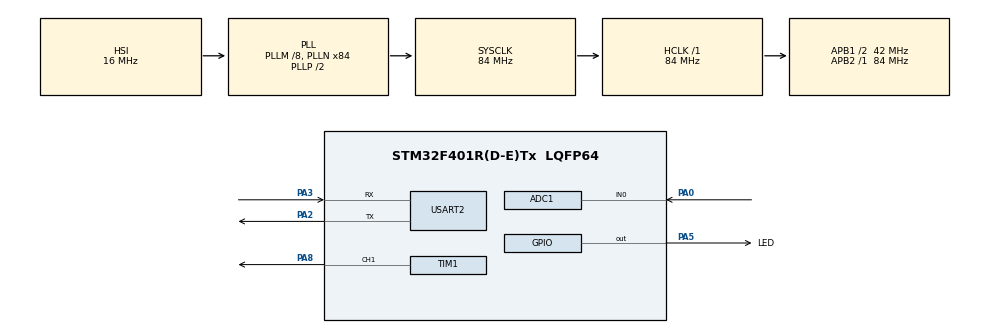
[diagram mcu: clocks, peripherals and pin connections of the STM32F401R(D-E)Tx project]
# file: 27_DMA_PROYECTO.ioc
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ADC1.Channel-0\#ChannelRegularConversion=ADC_CHANNEL_0
ADC1.ContinuousConvMode=ENABLE
ADC1.DMAContinuousRequests=ENABLE
ADC1.NbrOfConversionFlag=1
ADC1.Rank-0\#ChannelRegularConversion=1
ADC1.SamplingTime-0\#ChannelRegularConversion=ADC_SAMPLETIME_3CYCLES
ADC1.master=1
Dma.ADC1.0.Direction=DMA_PERIPH_TO_MEMORY
Dma.ADC1.0.FIFOMode=DMA_FIFOMODE_ENABLE
Dma.ADC1.0.FIFOThreshold=DMA_FIFO_THRESHOLD_FULL
Dma.ADC1.0.Instance=DMA2_Stream0
Dma.ADC1.0.MemBurst=DMA_MBURST_SINGLE
Dma.ADC1.0.MemDataAlignment=DMA_MDATAALIGN_HALFWORD
Dma.ADC1.0.MemInc=DMA_MINC_ENABLE
Dma.ADC1.0.Mode=DMA_CIRCULAR
Dma.ADC1.0.PeriphBurst=DMA_PBURST_SINGLE
Dma.ADC1.0.PeriphDataAlignment=DMA_PDATAALIGN_HALFWORD
Dma.ADC1.0.PeriphInc=DMA_PINC_DISABLE
Dma.ADC1.0.Priority=DMA_PRIORITY_LOW
Dma.Request0=ADC1
Dma.Request1=USART2_RX
Dma.Request2=TIM1_CH1
Dma.TIM1_CH1.2.Direction=DMA_PERIPH_TO_MEMORY
Dma.TIM1_CH1.2.FIFOMode=DMA_FIFOMODE_DISABLE
Dma.TIM1_CH1.2.Instance=DMA2_Stream1
Dma.TIM1_CH1.2.MemDataAlignment=DMA_MDATAALIGN_HALFWORD
Dma.TIM1_CH1.2.MemInc=DMA_MINC_ENABLE
Dma.TIM1_CH1.2.Mode=DMA_NORMAL
Dma.TIM1_CH1.2.PeriphDataAlignment=DMA_PDATAALIGN_HALFWORD
Dma.TIM1_CH1.2.PeriphInc=DMA_PINC_DISABLE
Dma.TIM1_CH1.2.Priority=DMA_PRIORITY_LOW
Dma.USART2_RX.1.Direction=DMA_PERIPH_TO_MEMORY
Dma.USART2_RX.1.FIFOMode=DMA_FIFOMODE_DISABLE
Dma.USART2_RX.1.Instance=DMA1_Stream5
Dma.USART2_RX.1.MemDataAlignment=DMA_MDATAALIGN_BYTE
Dma.USART2_RX.1.MemInc=DMA_MINC_ENABLE
Dma.USART2_RX.1.Mode=DMA_CIRCULAR
Dma.USART2_RX.1.PeriphDataAlignment=DMA_PDATAALIGN_BYTE
Dma.USART2_RX.1.PeriphInc=DMA_PINC_DISABLE
Dma.USART2_RX.1.Priority=DMA_PRIORITY_LOW
Mcu.Family=STM32F4
Mcu.Name=STM32F401R(D-E)Tx
Mcu.Package=LQFP64
NVIC.ADC_IRQn=true\:0\:0\:false\:false\:true\:true\:true\:true
NVIC.DMA1_Stream5_IRQn=true\:0\:0\:false\:false\:true\:false\:true\:true
NVIC.DMA2_Stream0_IRQn=true\:0\:0\:false\:false\:true\:false\:true\:true
NVIC.DMA2_Stream1_IRQn=true\:0\:0\:false\:false\:true\:false\:true\:true
NVIC.PriorityGroup=NVIC_PRIORITYGROUP_4
NVIC.USART2_IRQn=true\:0\:0\:false\:false\:true\:true\:true\:true
PA0-WKUP.Signal=ADCx_IN0
PA13.Mode=Serial_Wire
PA13.Signal=SYS_JTMS-SWDIO
PA14.Mode=Serial_Wire
PA14.Signal=SYS_JTCK-SWCLK
PA2.Mode=Asynchronous
PA2.Signal=USART2_TX
PA3.Mode=Asynchronous
PA3.Signal=USART2_RX
PA5.GPIO_Label=LED
PA5.Signal=GPIO_Output
PA8.Signal=S_TIM1_CH1
ProjectManager.HeapSize=0x200
ProjectManager.StackSize=0x400
ProjectManager.TargetToolchain=STM32CubeIDE
RCC.48MHZClocksFreq_Value=42000000
RCC.AHBFreq_Value=84000000
RCC.APB1CLKDivider=RCC_HCLK_DIV2
RCC.APB1Freq_Value=42000000
RCC.APB1TimFreq_Value=84000000
RCC.APB2Freq_Value=84000000
RCC.APB2TimFreq_Value=84000000
RCC.CortexFreq_Value=84000000
RCC.HCLKFreq_Value=84000000
RCC.HSE_VALUE=25000000
RCC.HSI_VALUE=16000000
RCC.LSE_VALUE=32768
RCC.PLLM=8
RCC.PLLN=84
RCC.SYSCLKFreq_VALUE=84000000
RCC.SYSCLKSource=RCC_SYSCLKSOURCE_PLLCLK
RCC.VCOOutputFreq_Value=168000000
SH.ADCx_IN0.0=ADC1_IN0,IN0
SH.S_TIM1_CH1.0=TIM1_CH1,PWM Generation1 CH1
TIM1.Channel-PWM\ Generation1\ CH1=TIM_CHANNEL_1
TIM1.Period=8400-1
TIM1.Prescaler=100-1
USART2.VirtualMode=VM_ASYNC
VP_TIM1_VS_ClockSourceINT.Mode=Internal
board=custom

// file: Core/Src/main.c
/* USER CODE BEGIN Header */
/**
  ******************************************************************************
  * @file           : main.c
  * @brief          : Main program body
  ******************************************************************************
  * @attention
  *
  * Copyright (c) 2023 STMicroelectronics.
  * All rights reserved.
  *
  * This software is licensed under terms that can be found in the LICENSE file
  * in the root directory of this software component.
  * If no LICENSE file comes with this software, it is provided AS-IS.
  *
  ******************************************************************************
  */
/* USER CODE END Header */
#include "main.h"
#include "adc.h"
#include "dma.h"
#include "tim.h"
#include "usart.h"
#include "gpio.h"

/* USER CODE BEGIN Includes */
#include "string.h"
#include "stdio.h"
/* USER CODE END Includes */

/* USER CODE BEGIN PD */
#define long_buffer 4096
/* USER CODE END PD */

/* USER CODE BEGIN PV */
uint16_t data_read[long_buffer],duty_cycle;
volatile uint8_t rx = 0;
uint8_t DataRx[100],i=0;
uint16_t ref;
/* USER CODE END PV */

void SystemClock_Config(void);

int main(void)
{

  /* MCU Configuration--------------------------------------------------------*/

  /* Reset of all peripherals, Initializes the Flash interface and the Systick. */
  HAL_Init();

  /* Configure the system clock */
  SystemClock_Config();

  /* Initialize all configured peripherals */
  MX_GPIO_Init();
  MX_DMA_Init();
  MX_ADC1_Init();
  MX_USART2_UART_Init();
  MX_TIM1_Init();
  /* USER CODE BEGIN 2 */
  uint16_t duty_cycle=2000;

  HAL_ADC_Start_DMA(&hadc1, (uint32_t*)data_read, long_buffer);
  HAL_UART_Receive_DMA(&huart2, &rx, 1);
  HAL_TIM_PWM_Start_DMA(&htim1, TIM_CHANNEL_1, &duty_cycle, 1);
  /* USER CODE END 2 */

  /* Infinite loop */
  while (1)
  {

  }
}

void SystemClock_Config(void)
{
  RCC_OscInitTypeDef RCC_OscInitStruct = {0};
  RCC_ClkInitTypeDef RCC_ClkInitStruct = {0};

  /** Configure the main internal regulator output voltage
  */
  __HAL_RCC_PWR_CLK_ENABLE();
  __HAL_PWR_VOLTAGESCALING_CONFIG(PWR_REGULATOR_VOLTAGE_SCALE2);

  /** Initializes the RCC Oscillators according to the specified parameters
  * in the RCC_OscInitTypeDef structure.
  */
  RCC_OscInitStruct.OscillatorType = RCC_OSCILLATORTYPE_HSI;
  RCC_OscInitStruct.HSIState = RCC_HSI_ON;
  RCC_OscInitStruct.HSICalibrationValue = RCC_HSICALIBRATION_DEFAULT;
  RCC_OscInitStruct.PLL.PLLState = RCC_PLL_ON;
  RCC_OscInitStruct.PLL.PLLSource = RCC_PLLSOURCE_HSI;
  RCC_OscInitStruct.PLL.PLLM = 8;
  RCC_OscInitStruct.PLL.PLLN = 84;
  RCC_OscInitStruct.PLL.PLLP = RCC_PLLP_DIV2;
  RCC_OscInitStruct.PLL.PLLQ = 4;
  if (HAL_RCC_OscConfig(&RCC_OscInitStruct) != HAL_OK)
  {
    Error_Handler();
  }

  /** Initializes the CPU, AHB and APB buses clocks
  */
  RCC_ClkInitStruct.ClockType = RCC_CLOCKTYPE_HCLK|RCC_CLOCKTYPE_SYSCLK
                              |RCC_CLOCKTYPE_PCLK1|RCC_CLOCKTYPE_PCLK2;
  RCC_ClkInitStruct.SYSCLKSource = RCC_SYSCLKSOURCE_PLLCLK;
  RCC_ClkInitStruct.AHBCLKDivider = RCC_SYSCLK_DIV1;
  RCC_ClkInitStruct.APB1CLKDivider = RCC_HCLK_DIV2;
  RCC_ClkInitStruct.APB2CLKDivider = RCC_HCLK_DIV1;

  if (HAL_RCC_ClockConfig(&RCC_ClkInitStruct, FLASH_LATENCY_2) != HAL_OK)
  {
    Error_Handler();
  }
}

/* USER CODE BEGIN 4 */
void HAL_UART_RxCpltCallback(UART_HandleTypeDef *huart)
{
  HAL_UART_Receive_DMA(&huart2, &rx, 1);
  if(rx = 'x'){
	  ref = atoi(DataRx);
	  memset(DataRx,0,i);
	  i=0;
	  __HAL_TIM_SET_COMPARE(&htim1,TIM_CHANNEL_1,ref);
  }else{
	  DataRx[i]=rx;
	  i++;
  }
}
/* USER CODE END 4 */

void Error_Handler(void)
{
  __disable_irq();
  while (1)
  {
  }
}
